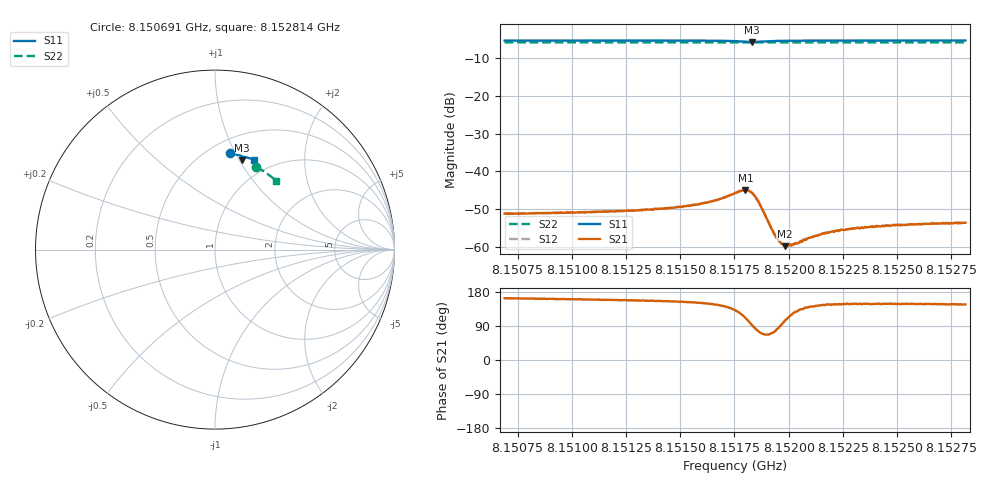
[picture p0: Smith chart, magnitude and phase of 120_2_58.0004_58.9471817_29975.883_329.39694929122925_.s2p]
#  HZ  S  RI  R  50.00
! Rohde & Schwarz Vector Network Analyzer
! Rohde-Schwarz,ZNB20-2Port,1311601062101988,3.16
! Created: UTC 3/21/2024, 12:55:41 AM
! freq[Hz]  re:S11  im:S11  re:S21  im:S21  re:S12  im:S12  re:S22  im:S22
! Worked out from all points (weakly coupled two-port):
!   401 points, 8.150691 GHz to 8.152814 GHz, reference 50 ohm
!   highest |S21| = -44.99 dB at 8.1518 GHz (marker M1); lowest = -59.8 dB at 8.151981 GHz (marker M2)
!   lowest |S11| = -5.7 dB at 8.151832 GHz (marker M3), VSWR 3.18, Z = 37.6 + j51.5 ohm
!   |S11| at or under -10 dB: nowhere
!   |S22| runs from -5.8 to -5.8 dB; largest |S21 - S12| = 0.00014
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8.1506905e9  0.081 0.5359  -0.00264 0.0008  -0.00266 0.000858  0.2309 0.4601
8.1510463e9  0.1061 0.532  -0.0027 0.000976  -0.00269 0.00102  0.251 0.4491
8.151402e9  0.1319 0.5265  -0.00291 0.00129  -0.00293 0.00134  0.2706 0.4371
8.1515347e9  0.1421 0.5235  -0.0031 0.00161  -0.00311 0.00165  0.2778 0.4322
8.1516197e9  0.1491 0.5206  -0.00329 0.00195  -0.00332 0.00203  0.2821 0.429
8.1516834e9  0.1549 0.5172  -0.00351 0.00251  -0.00348 0.00262  0.2856 0.4266
8.1517524e9  0.1606 0.5096  -0.00343 0.00382  -0.00338 0.00395  0.2893 0.4239
8.1518002e9  0.1586 0.5009  -0.00204 0.00525  -0.00198 0.00533  0.2914 0.4219
8.1518161e9  0.1554 0.4989  -0.00113 0.00542  -0.00105 0.00545  0.292 0.4212
8.151832e9  0.1515 0.4989  -0.000103 0.00514  -3.66e-05 0.00518  0.2927 0.4208
8.151848e9  0.1481 0.501  0.000651 0.00448  0.000689 0.0045  0.2932 0.4203
8.1518639e9  0.1466 0.5043  0.00105 0.00365  0.00109 0.00368  0.2942 0.42
8.1519223e9  0.1508 0.5134  0.000543 0.00161  0.00059 0.00161  0.2974 0.418
8.1519435e9  0.1535 0.5149  0.00022 0.0013  0.000264 0.0013  0.2986 0.4174
8.1519701e9  0.1565 0.5159  -0.000113 0.00108  -7.79e-05 0.0011  0.2999 0.4161
8.1519807e9  0.1579 0.5161  -0.000225 0.000995  -0.000213 0.001  0.3006 0.4159
8.1520179e9  0.1618 0.5164  -0.000579 0.000907  -0.000532 0.00094  0.3027 0.4146
8.1521081e9  0.1701 0.5152  -0.00106 0.000844  -0.00103 0.000876  0.3072 0.4109
8.1521772e9  0.1757 0.5141  -0.00128 0.000832  -0.00129 0.000889  0.3108 0.4082
8.1522462e9  0.181 0.5126  -0.00142 0.000893  -0.00141 0.000926  0.3142 0.4055
8.1524639e9  0.1965 0.5077  -0.00162 0.000993  -0.00164 0.00101  0.3249 0.3965
8.1528143e9  0.22 0.4986  -0.00174 0.00115  -0.00176 0.00119  0.3417 0.3816
